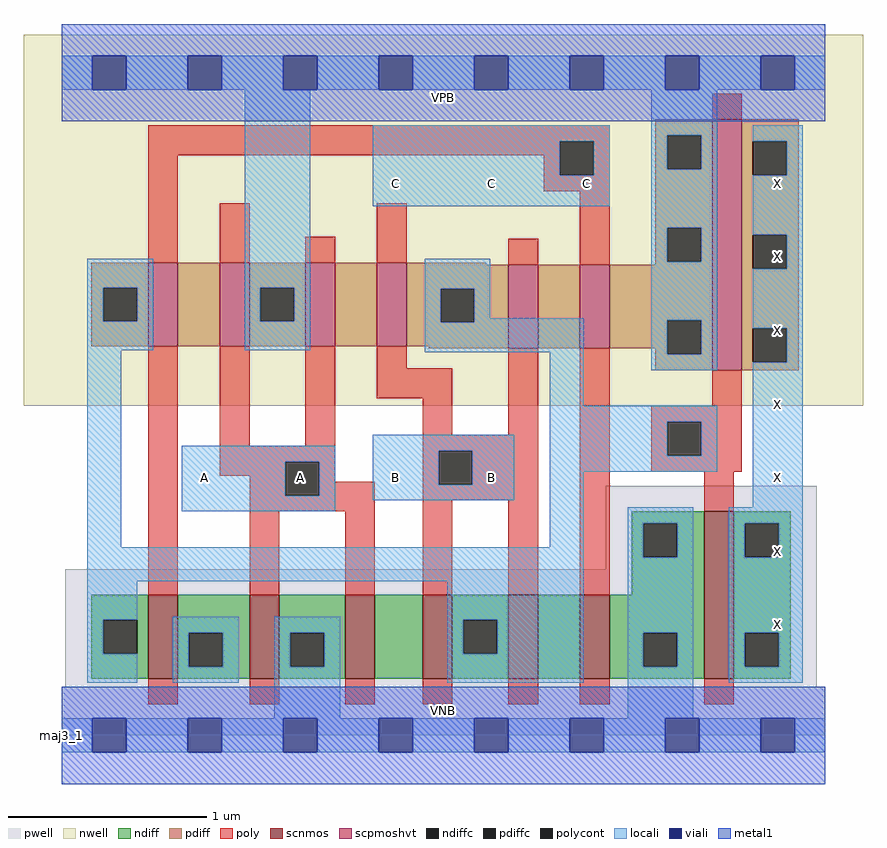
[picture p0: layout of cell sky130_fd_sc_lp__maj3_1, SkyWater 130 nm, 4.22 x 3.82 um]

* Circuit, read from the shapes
.subckt sky130_fd_sc_lp__maj3_1 A B C VGND VNB VPB VPWR X
XM1 n1 C n2 VNB sky130_fd_pr__nfet_01v8 w=0.42 l=0.15
XM2 VGND A n1 VNB sky130_fd_pr__nfet_01v8 w=0.42 l=0.15
XM3 n3 A VGND VNB sky130_fd_pr__nfet_01v8 w=0.42 l=0.15
XM4 n2 B n3 VNB sky130_fd_pr__nfet_01v8 w=0.42 l=0.15
XM5 n4 B n2 VNB sky130_fd_pr__nfet_01v8 w=0.42 l=0.15
XM6 VGND C n4 VNB sky130_fd_pr__nfet_01v8 w=0.42 l=0.15
XM7 X n2 VGND VNB sky130_fd_pr__nfet_01v8 w=0.84 l=0.15
XM8 n5 C n2 VPB sky130_fd_pr__pfet_01v8_hvt w=0.42 l=0.15
XM9 VPWR A n5 VPB sky130_fd_pr__pfet_01v8_hvt w=0.42 l=0.15
XM10 n6 A VPWR VPB sky130_fd_pr__pfet_01v8_hvt w=0.42 l=0.15
XM11 n2 B n6 VPB sky130_fd_pr__pfet_01v8_hvt w=0.42 l=0.15
XM12 n7 B n2 VPB sky130_fd_pr__pfet_01v8_hvt w=0.42 l=0.15
XM13 VPWR C n7 VPB sky130_fd_pr__pfet_01v8_hvt w=0.42 l=0.15
XM14 X n2 VPWR VPB sky130_fd_pr__pfet_01v8_hvt w=1.26 l=0.15
.ends

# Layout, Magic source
magic
tech sky130A
magscale 1 2
<< nwell >>
rect -38 331 806 704
<< pwell >>
rect 547 167 759 251
rect 4 49 759 167
rect 0 0 768 49
<< scnmos >>
rect 87 57 117 141
rect 189 57 219 141
rect 285 57 315 141
rect 363 57 393 141
rect 449 57 479 141
rect 521 57 551 141
rect 646 57 676 225
<< scpmoshvt >>
rect 87 391 117 475
rect 159 391 189 475
rect 245 391 275 475
rect 317 391 347 475
rect 449 389 479 473
rect 521 389 551 473
rect 654 367 684 619
<< ndiff >>
rect 573 213 646 225
rect 573 179 585 213
rect 619 179 646 213
rect 573 141 646 179
rect 30 116 87 141
rect 30 82 42 116
rect 76 82 87 116
rect 30 57 87 82
rect 117 103 189 141
rect 117 69 128 103
rect 162 69 189 103
rect 117 57 189 69
rect 219 103 285 141
rect 219 69 230 103
rect 264 69 285 103
rect 219 57 285 69
rect 315 57 363 141
rect 393 116 449 141
rect 393 82 404 116
rect 438 82 449 116
rect 393 57 449 82
rect 479 57 521 141
rect 551 103 646 141
rect 551 69 585 103
rect 619 69 646 103
rect 551 57 646 69
rect 676 213 733 225
rect 676 179 687 213
rect 721 179 733 213
rect 676 103 733 179
rect 676 69 687 103
rect 721 69 733 103
rect 676 57 733 69
<< pdiff >>
rect 30 450 87 475
rect 30 416 42 450
rect 76 416 87 450
rect 30 391 87 416
rect 117 391 159 475
rect 189 450 245 475
rect 189 416 200 450
rect 234 416 245 450
rect 189 391 245 416
rect 275 391 317 475
rect 347 473 427 475
rect 597 603 654 619
rect 597 569 609 603
rect 643 569 654 603
rect 597 510 654 569
rect 597 476 609 510
rect 643 476 654 510
rect 597 473 654 476
rect 347 449 449 473
rect 347 415 381 449
rect 415 415 449 449
rect 347 391 449 415
rect 369 389 449 391
rect 479 389 521 473
rect 551 417 654 473
rect 551 389 609 417
rect 597 383 609 389
rect 643 383 654 417
rect 597 367 654 383
rect 684 597 741 619
rect 684 563 695 597
rect 729 563 741 597
rect 684 503 741 563
rect 684 469 695 503
rect 729 469 741 503
rect 684 409 741 469
rect 684 375 695 409
rect 729 375 741 409
rect 684 367 741 375
<< ndiffc >>
rect 585 179 619 213
rect 42 82 76 116
rect 128 69 162 103
rect 230 69 264 103
rect 404 82 438 116
rect 585 69 619 103
rect 687 179 721 213
rect 687 69 721 103
<< pdiffc >>
rect 42 416 76 450
rect 200 416 234 450
rect 609 569 643 603
rect 609 476 643 510
rect 381 415 415 449
rect 609 383 643 417
rect 695 563 729 597
rect 695 469 729 503
rect 695 375 729 409
<< poly >>
rect 654 619 684 645
rect 87 597 551 613
rect 87 583 501 597
rect 87 475 117 583
rect 485 563 501 583
rect 535 563 551 597
rect 485 547 551 563
rect 159 475 189 535
rect 245 475 275 501
rect 317 475 347 535
rect 449 473 479 499
rect 521 473 551 547
rect 87 141 117 391
rect 159 291 189 391
rect 245 291 275 391
rect 317 369 347 391
rect 317 339 393 369
rect 159 275 275 291
rect 159 261 225 275
rect 189 241 225 261
rect 259 255 275 275
rect 363 302 393 339
rect 449 302 479 389
rect 363 286 479 302
rect 259 241 315 255
rect 189 225 315 241
rect 189 141 219 225
rect 285 141 315 225
rect 363 252 379 286
rect 413 252 479 286
rect 363 236 479 252
rect 363 141 393 236
rect 449 141 479 236
rect 521 141 551 389
rect 654 331 684 367
rect 593 315 684 331
rect 593 281 609 315
rect 643 281 684 315
rect 593 265 684 281
rect 646 225 676 265
rect 87 31 117 57
rect 189 31 219 57
rect 285 31 315 57
rect 363 31 393 57
rect 449 31 479 57
rect 521 31 551 57
rect 646 31 676 57
<< polycont >>
rect 501 563 535 597
rect 225 241 259 275
rect 379 252 413 286
rect 609 281 643 315
<< locali >>
rect 0 649 31 683
rect 65 649 127 683
rect 161 649 223 683
rect 257 649 319 683
rect 353 649 415 683
rect 449 649 511 683
rect 545 649 607 683
rect 641 649 703 683
rect 737 649 768 683
rect 26 450 92 479
rect 26 416 42 450
rect 76 416 92 450
rect 26 387 92 416
rect 184 450 250 649
rect 313 597 551 613
rect 313 563 501 597
rect 535 563 551 597
rect 313 532 551 563
rect 593 603 659 649
rect 593 569 609 603
rect 643 569 659 603
rect 593 510 659 569
rect 184 416 200 450
rect 234 416 250 450
rect 184 387 250 416
rect 365 449 431 479
rect 365 415 381 449
rect 415 419 431 449
rect 593 476 609 510
rect 643 476 659 510
rect 415 415 525 419
rect 26 189 60 387
rect 365 385 525 415
rect 491 331 525 385
rect 593 417 659 476
rect 593 383 609 417
rect 643 383 659 417
rect 593 367 659 383
rect 695 597 745 613
rect 729 563 745 597
rect 695 503 745 563
rect 729 469 745 503
rect 695 409 745 469
rect 729 375 745 409
rect 491 315 659 331
rect 121 275 275 291
rect 121 241 225 275
rect 259 241 275 275
rect 121 225 275 241
rect 313 286 455 302
rect 313 252 379 286
rect 413 252 455 286
rect 313 236 455 252
rect 491 281 609 315
rect 643 281 659 315
rect 491 265 659 281
rect 491 189 525 265
rect 695 229 745 375
rect 26 155 525 189
rect 26 116 76 155
rect 26 82 42 116
rect 26 53 76 82
rect 112 103 178 119
rect 112 69 128 103
rect 162 69 178 103
rect 112 53 178 69
rect 214 103 280 119
rect 214 69 230 103
rect 264 69 280 103
rect 214 17 280 69
rect 388 116 525 155
rect 388 82 404 116
rect 438 82 525 116
rect 388 53 525 82
rect 569 213 635 229
rect 569 179 585 213
rect 619 179 635 213
rect 569 103 635 179
rect 569 69 585 103
rect 619 69 635 103
rect 569 17 635 69
rect 671 213 745 229
rect 671 179 687 213
rect 721 179 745 213
rect 671 103 745 179
rect 671 69 687 103
rect 721 69 745 103
rect 671 53 745 69
rect 0 -17 31 17
rect 65 -17 127 17
rect 161 -17 223 17
rect 257 -17 319 17
rect 353 -17 415 17
rect 449 -17 511 17
rect 545 -17 607 17
rect 641 -17 703 17
rect 737 -17 768 17
<< viali >>
rect 31 649 65 683
rect 127 649 161 683
rect 223 649 257 683
rect 319 649 353 683
rect 415 649 449 683
rect 511 649 545 683
rect 607 649 641 683
rect 703 649 737 683
rect 31 -17 65 17
rect 127 -17 161 17
rect 223 -17 257 17
rect 319 -17 353 17
rect 415 -17 449 17
rect 511 -17 545 17
rect 607 -17 641 17
rect 703 -17 737 17
<< metal1 >>
rect 0 683 768 715
rect 0 649 31 683
rect 65 649 127 683
rect 161 649 223 683
rect 257 649 319 683
rect 353 649 415 683
rect 449 649 511 683
rect 545 649 607 683
rect 641 649 703 683
rect 737 649 768 683
rect 0 617 768 649
rect 0 17 768 49
rect 0 -17 31 17
rect 65 -17 127 17
rect 161 -17 223 17
rect 257 -17 319 17
rect 353 -17 415 17
rect 449 -17 511 17
rect 545 -17 607 17
rect 641 -17 703 17
rect 737 -17 768 17
rect 0 -49 768 -17
<< labels >>
flabel pwell s 0 0 768 49 0 FreeSans 200 0 0 0 VNB
port 5 nsew ground bidirectional
flabel nwell s 0 617 768 666 0 FreeSans 200 0 0 0 VPB
port 6 nsew power bidirectional
rlabel comment s 0 0 0 0 4 maj3_1
flabel metal1 s 0 617 768 666 0 FreeSans 340 0 0 0 VPWR
port 7 nsew power bidirectional
flabel metal1 s 0 0 768 49 0 FreeSans 340 0 0 0 VGND
port 4 nsew ground bidirectional
flabel locali s 319 538 353 572 0 FreeSans 340 0 0 0 C
port 3 nsew signal input
flabel locali s 415 538 449 572 0 FreeSans 340 0 0 0 C
port 3 nsew signal input
flabel locali s 511 538 545 572 0 FreeSans 340 0 0 0 C
port 3 nsew signal input
flabel locali s 319 242 353 276 0 FreeSans 340 0 0 0 B
port 2 nsew signal input
flabel locali s 415 242 449 276 0 FreeSans 340 0 0 0 B
port 2 nsew signal input
flabel locali s 127 242 161 276 0 FreeSans 340 0 0 0 A
port 1 nsew signal input
flabel locali s 223 242 257 276 0 FreeSans 340 0 0 0 A
port 1 nsew signal input
flabel locali s 703 94 737 128 0 FreeSans 340 0 0 0 X
port 8 nsew signal output
flabel locali s 703 168 737 202 0 FreeSans 340 0 0 0 X
port 8 nsew signal output
flabel locali s 703 242 737 276 0 FreeSans 340 0 0 0 X
port 8 nsew signal output
flabel locali s 703 316 737 350 0 FreeSans 340 0 0 0 X
port 8 nsew signal output
flabel locali s 703 390 737 424 0 FreeSans 340 0 0 0 X
port 8 nsew signal output
flabel locali s 703 464 737 498 0 FreeSans 340 0 0 0 X
port 8 nsew signal output
flabel locali s 703 538 737 572 0 FreeSans 340 0 0 0 X
port 8 nsew signal output
<< properties >>
string LEFsite unit
string LEFclass CORE
string FIXED_BBOX 0 0 768 666
string GDS_FILE $PDKPATH/libs.ref/sky130_fd_sc_lp/gds/sky130_fd_sc_lp.gds
string LEFsymmetry X Y R90
string GDS_END 6744734
string GDS_START 6737662
<< end >>
